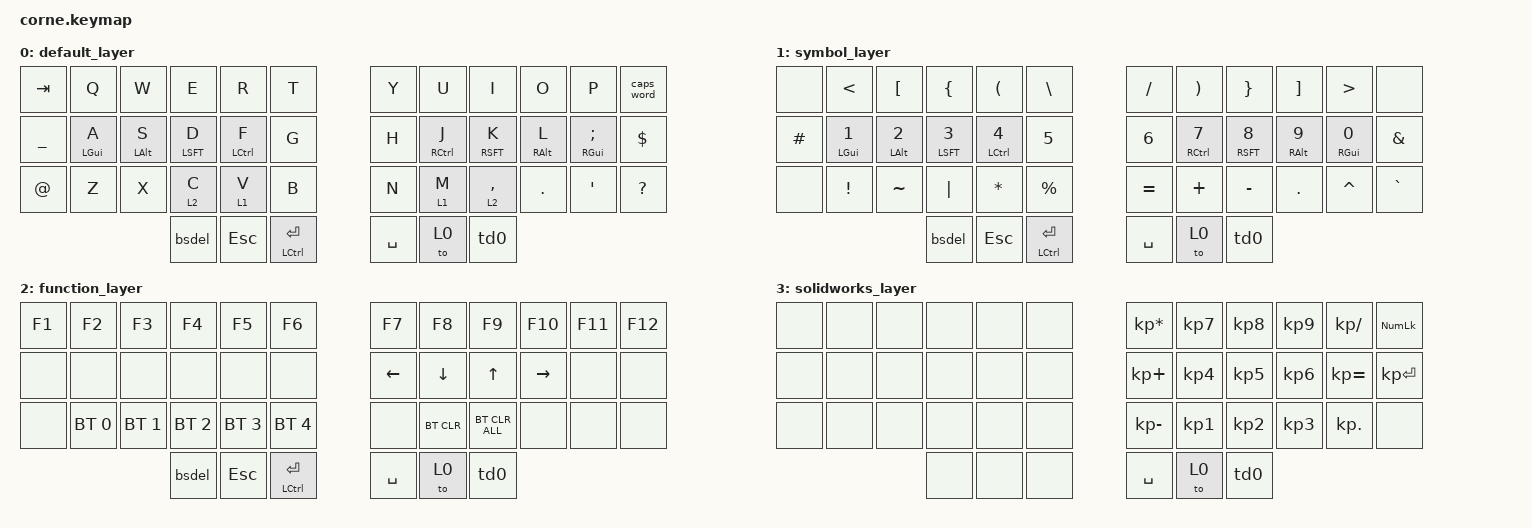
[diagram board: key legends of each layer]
/*
 * Copyright (c) 2020 The ZMK Contributors
 *
 * SPDX-License-Identifier: MIT
 */

#include <behaviors.dtsi>
#include <dt-bindings/zmk/keys.h>
#include <dt-bindings/zmk/bt.h>

/ {
        behaviors {
            td0: tap_dance_0 {
                compatible = "zmk,behavior-tap-dance";
                #binding-cells = <0>;
                tapping-term-ms = <200>;
                bindings = <&to 2>, <&to 3>;
            };
            bsdel: backspace_delete {
                compatible = "zmk,behavior-mod-morph";
                #binding-cells = <0>;
                bindings = <&kp BSPC>, <&kp DEL>;
                mods = <(MOD_LSFT|MOD_RSFT)>;
            };
            hml: home_row_mod_left {
                compatible = "zmk,behavior-hold-tap";
                #binding-cells = <2>;
                flavor = "balanced";
                require-prior-idle-ms = <50>;
                tapping-term-ms = <280>;
                quick-tap-ms = <175>;
                bindings = <&kp>, <&kp>;
                hold-trigger-key-positions =    <6 7 8 9 10 11 
                                                18 19 20 21 22 23 
                                                30 31 32 33 34 35 
                                                39 40 41>;
                hold-trigger-on-release;
            };
            hmr: home_row_mod_right {
                compatible = "zmk,behavior-hold-tap";
                #binding-cells = <2>;
                flavor = "balanced";
                require-prior-idle-ms = <50>;
                tapping-term-ms = <280>;
                quick-tap-ms = <175>;
                bindings = <&kp>, <&kp>;
                hold-trigger-key-positions =    <0 1 2 3 4 5 
                                                12 13 14 15 16 17 
                                                24 25 26 27 28 29 
                                                36 37 38>;
                hold-trigger-on-release;
        };
            hll: home_row_layer_left {
                compatible = "zmk,behavior-hold-tap";
                #binding-cells = <2>;
                flavor = "balanced";
                require-prior-idle-ms = <50>;
                tapping-term-ms = <280>;
                quick-tap-ms = <175>;
                bindings = <&mo>, <&kp>;
                hold-trigger-key-positions =    <6 7 8 9 10 11 
                                                18 19 20 21 22 23 
                                                30 31 32 33 34 35 
                                                39 40 41>;
                hold-trigger-on-release;
            };
            hlr: home_row_layer_right {
                compatible = "zmk,behavior-hold-tap";
                #binding-cells = <2>;
                flavor = "balanced";
                require-prior-idle-ms = <50>;
                tapping-term-ms = <280>;
                quick-tap-ms = <175>;
                bindings = <&mo>, <&kp>;
                hold-trigger-key-positions =    <0 1 2 3 4 5 
                                                12 13 14 15 16 17 
                                                24 25 26 27 28 29 
                                                36 37 38>;
                hold-trigger-on-release;
        };
        };
        keymap {
                compatible = "zmk,keymap";

                default_layer { //0
// -----------------------------------------------------------------------------------------
// |  TAB |  Q  |  W  |  E  |  R  |  T  |   |  Y  |  U   |  I  |  O  |  P  | BSPC |
// | CTRL |  A  |  S  |  D  |  F  |  G  |   |  H  |  J   |  K  |  L  |  ;  |  '   |
// | SHFT |  Z  |  X  |  C  |  V  |  B  |   |  N  |  M   |  ,  |  .  |  /  | ESC  |
//                    | GUI | LWR | SPC |   | ENT | RSE  | ALT |
                        bindings = <
   &kp TAB    &kp Q      &kp W      &kp E      &kp R      &kp T   /**/ &kp Y     &kp U      &kp I       &kp O      &kp P         &caps_word
   &kp UNDER  &hml LGUI A &hml LALT S &hml LSFT D &hml LCTL F &kp G   /**/ &kp H     &hmr RCTL J &hmr RSFT K  &hmr RALT L &hmr RGUI SEMI &kp DLLR
   &kp AT     &kp Z      &kp X      &hll 2 C    &hll 1 V    &kp B   /**/ &kp N     &hlr 1 M    &hlr 2 COMMA &kp DOT   &kp SQT     &kp QMARK
                                    &bsdel     &kp ESC    &mt LCTL RET /**/ &kp SPACE &to 0      &td0
                        >;
                };
                symbol_layer { //1
                        bindings = < 
   &none    &kp LT      &kp LBKT    &kp LBRC    &kp LPAR    &kp BSLH  /**/ &kp FSLH  &kp RPAR    &kp RBRC    &kp RBKT    &kp GT      &none
   &kp HASH &hml LGUI N1 &hml LALT N2 &hml LSFT N3 &hml LCTL N4 &kp N5    /**/ &kp N6    &hmr RCTL N7 &hmr RSFT N8 &hmr RALT N9 &hmr RGUI N0 &kp AMPS
   &none    &kp EXCL    &kp TILDE   &kp PIPE    &kp STAR    &kp PRCNT /**/ &kp EQUAL &kp PLUS    &kp MINUS   &kp DOT     &kp CARET   &kp GRAVE
                                    &bsdel      &kp ESC     &mt LCTL RET   /**/ &kp SPACE &to 0       &td0
                        >;
                };
                function_layer { //2
                        bindings = <
    &kp F1 &kp F2       &kp F3       &kp F4       &kp F5       &kp F6       /**/ &kp F7    &kp F8     &kp F9 &kp F10   &kp F11 &kp F12
    &none  &none        &none        &none        &none        &none        /**/ &kp LEFT  &kp DOWN   &kp UP &kp RIGHT &none   &none
    &none  &bt BT_SEL 0 &bt BT_SEL 1 &bt BT_SEL 2 &bt BT_SEL 3 &bt BT_SEL 4 /**/ &none     &bt BT_CLR &bt BT_CLR_ALL  &none     &none   &none
                                     &bsdel       &kp ESC      &mt LCTL RET      /**/ &kp SPACE &to 0      &td0
                        >;
                };
                solidworks_layer { //3
                        bindings = <
    &none &none &none &none &none &none /**/ &kp KP_MULTIPLY &kp KP_N7 &kp KP_N8 &kp KP_N9 &kp KP_SLASH &kp KP_NUM
    &none &none &none &none &none &none /**/ &kp KP_PLUS &kp KP_N4 &kp KP_N5 &kp KP_N6 &kp KP_EQUAL &kp KP_ENTER
    &none &none &none &none &none &none /**/ &kp KP_MINUS &kp KP_N1 &kp KP_N2 &kp KP_N3 &kp KP_DOT &none
                      &none &none &none /**/ &kp SPACE    &to 0  &td0                 
                        >;
                };
        };
};
                /*
                lower_layer {
// -----------------------------------------------------------------------------------------
// |  TAB |  1  |  2  |  3  |  4  |  5  |   |  6  |  7  |  8  |  9  |  0  | BSPC |
// | BTCLR| BT1 | BT2 | BT3 | BT4 | BT5 |   | LFT | DWN |  UP | RGT |     |      |
// | SHFT |     |     |     |     |     |   |     |     |     |     |     |      |
//                    | GUI |     | SPC |   | ENT |     | ALT |
                        bindings = <
   &kp TAB    &kp N1       &kp N2       &kp N3       &kp N4       &kp N5         &kp N6   &kp N7   &kp N8 &kp N9    &kp N0 &kp BSPC
   &bt BT_CLR &bt BT_SEL 0 &bt BT_SEL 1 &bt BT_SEL 2 &bt BT_SEL 3 &bt BT_SEL 4   &kp LEFT &kp DOWN &kp UP &kp RIGHT &trans &trans
   &kp LSHFT  &trans       &trans       &trans       &trans       &trans         &trans   &trans   &trans &trans    &trans &trans
                                    &kp LGUI     &trans       &kp SPACE      &mt LCTL RET  &trans   &kp RALT
                        >;
                };

                raise_layer {
// -----------------------------------------------------------------------------------------
// |  TAB |  !  |  @  |  #  |  $  |  %  |   |  ^  |  &  |  *  |  (  |  )  | BSPC |
// | CTRL |     |     |     |     |     |   |  -  |  =  |  [  |  ]  |  \  |  `   |
// | SHFT |     |     |     |     |     |   |  _  |  +  |  {  |  }  | "|" |  ~   |
//                    | GUI |     | SPC |   | ENT |     | ALT |
                        bindings = <
   &kp  TAB  &kp EXCL &kp AT &kp HASH &kp DLLR &kp PRCNT   &kp CARET &kp AMPS  &kp ASTRK &kp LPAR &kp RPAR &kp BSPC
   &kp LCTRL &trans   &trans &trans   &trans   &trans      &kp MINUS &kp EQUAL &kp LBKT  &kp RBKT &kp BSLH &kp GRAVE
   &kp LSHFT &trans   &trans &trans   &trans   &trans      &kp UNDER &kp PLUS  &kp LBRC  &kp RBRC &kp PIPE &kp TILDE
                             &kp LGUI &trans   &kp SPACE   &mt LCTL RET   &trans    &kp RALT
                        >;
                };
        };
};
*/
